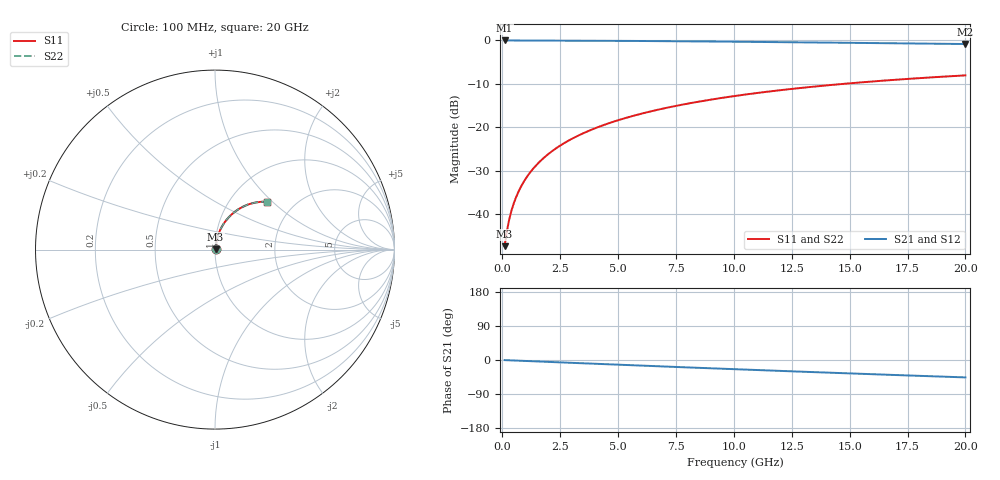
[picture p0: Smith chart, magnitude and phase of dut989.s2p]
! Touchstone file exported from HFSS 2026.1.0
!  File:  C:/ffzhzh/LocalFiles/Ansys_Project_Files/temp_train_BSMRDL_989_1783172898_51560.aedt
!  Generated:  09:49:33 PM Jul  4, 2026
!  Design:  BSMRDL
!  Project:  temp_train_BSMRDL_989_1783172898_51560
! Variables:
!  h_bsmrdl = 3.67um
!  h_ox = 20um
!  h_rdl = 5um
!  h_sub = 80um
!  h_tmrdl = 5um
!  h_tsv = 80um
!  h_via = 3um
!  l_bsmrdl = 692.8um
!  l_sub = 1092.8um
!  l_tmrdl = 200um
!  m_sub = 200um
!  pitch = 45.72um
!  r_tsv = 6um
!  s_tmrdl = 10um
!  w_bsmrdl = 21.49um
!  w_sub = 500um
!  w_tmrdl = 12um
!  x_tsv_center1 = 206um
!  x_tsv_center2 = 920.29um
!  x_tsv_center3 = 1132.29um
!  x_tsv_center4 = 1846.58um
!  x_tsv_center5 = 2058.58um
!  x_tsv_center6 = 2772.87um
# GHz S MA R 50.000000
! Terminal data exported
! Port[1] = BSM_RDL1_1_T1
! Port[2] = BSM_RDL1_1_T2
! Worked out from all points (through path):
!   200 points, 100 MHz to 20 GHz, reference 50 ohm
!   highest |S21| = -0.03 dB at 100 MHz (marker M1); lowest = -0.8 dB at 20 GHz (marker M2)
!   group delay of S21, straight-line fit = 6.38 ps
!   lowest |S11| = -47.4 dB at 100 MHz (marker M3), VSWR 1.01, Z = 50.3 + j0.272 ohm
!   |S11| at or under -10 dB: start of sweep to 14.78 GHz
!   |S22| runs from -47.4 to -8.1 dB; largest |S21 - S12| = 4.2e-15
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0.1  0.004272 39.3  0.9967 -0.3  0.9967 -0.3  0.004272 39.3
! Gamma 0 0 0 0
! Port Impedance 50 0 50 0
0.2  0.006374 56.7  0.9965 -0.5  0.9965 -0.5  0.006374 56.7
0.3  0.008695 64.5  0.9963 -0.8  0.9963 -0.8  0.008695 64.5
0.4  0.01105 68.9  0.9962 -1.0  0.9962 -1.0  0.01105 68.9
0.5  0.0134 71.7  0.996 -1.3  0.996 -1.3  0.0134 71.7
0.6  0.01576 73.7  0.9959 -1.5  0.9959 -1.5  0.01576 73.7
0.8  0.02051 76.3  0.9957 -2.0  0.9957 -2.0  0.02051 76.3
1.1  0.02769 78.3  0.9954 -2.8  0.9954 -2.8  0.02769 78.3
1.3  0.0325 79.0  0.9952 -3.3  0.9952 -3.3  0.03251 79.0
1.6  0.03974 79.5  0.9948 -4.0  0.9948 -4.0  0.03974 79.5
2.1  0.05181 79.5  0.994 -5.3  0.994 -5.3  0.05181 79.5
2.7  0.06624 78.9  0.9929 -6.7  0.9929 -6.7  0.06624 78.9
3.5  0.0853 77.6  0.991 -8.7  0.991 -8.7  0.0853 77.6
4.2  0.1018 76.3  0.989 -10.4  0.989 -10.4  0.1018 76.2
5  0.1203 74.6  0.9864 -12.4  0.9864 -12.4  0.1203 74.6
5.9  0.1408 72.6  0.9831 -14.6  0.9831 -14.6  0.1408 72.6
6.8  0.1607 70.6  0.9794 -16.7  0.9794 -16.7  0.1607 70.6
8.3  0.193 67.2  0.9727 -20.3  0.9727 -20.3  0.193 67.2
10.1  0.23 63.2  0.9638 -24.4  0.9638 -24.4  0.23 63.2
13.4  0.2923 56.0  0.9456 -31.9  0.9456 -31.9  0.2923 56.0
16.7  0.3474 49.1  0.9263 -39.1  0.9263 -39.1  0.3474 49.1
20  0.3949 42.4  0.9068 -45.9  0.9068 -45.9  0.3949 42.4
